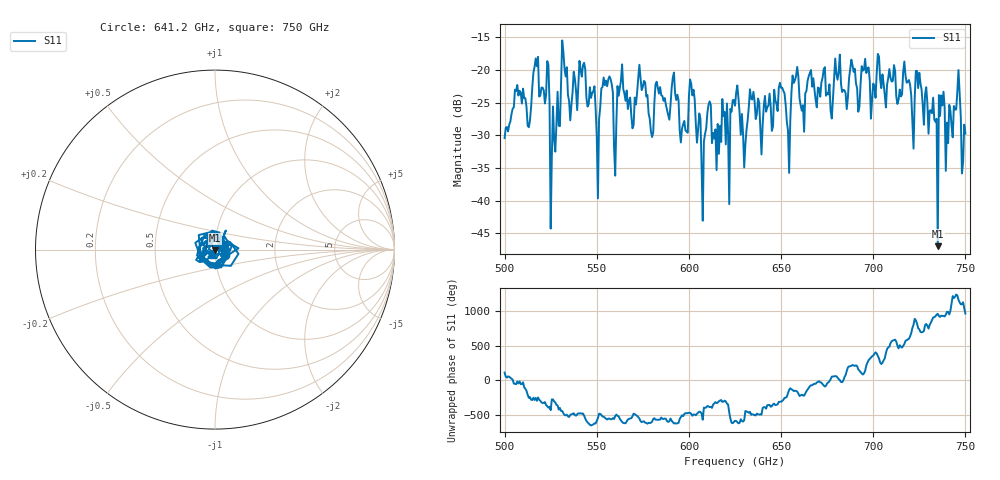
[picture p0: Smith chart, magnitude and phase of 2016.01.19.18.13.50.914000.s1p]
!Created with skrf (http://scikit-rf.org).
# GHz S RI R 50.0
!freq ReS11 ImS11
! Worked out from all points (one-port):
!   401 points, 500 GHz to 750 GHz, reference 50 ohm
!   lowest |S11| = -47.0 dB at 735 GHz (marker M1), VSWR 1.01, Z = 49.7 - j0.367 ohm
!   |S11| at or under -10 dB: start of sweep to end of sweep
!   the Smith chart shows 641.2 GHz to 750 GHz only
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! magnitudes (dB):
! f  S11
! 500 GHz  -30.4
! 506.9 GHz  -22.3
! 513.1 GHz  -28.8
! 516.9 GHz  -18.2
! 523.1 GHz  -18.6
! 526.2 GHz  -25.6
! 531.2 GHz  -15.5
! 542.5 GHz  -19.3
! 550.6 GHz  -39.6
! 553.8 GHz  -21.1
! 560.6 GHz  -28.2
! 562.5 GHz  -22.7
! 593.8 GHz  -23.8
! 601.9 GHz  -23.9
! 608.1 GHz  -31.0
! 610.6 GHz  -25.3
! 620.6 GHz  -25.1
! 625 GHz  -25.5
! 630.6 GHz  -31.4
! 633.8 GHz  -24.4
! 650 GHz  -22.7
! 653.8 GHz  -29.3
! 656.2 GHz  -20.9
! 687.5 GHz  -19.9
! 718.8 GHz  -21.8
! 735 GHz  -47.0
! 745.6 GHz  -23.3
! 750 GHz  -29.7
